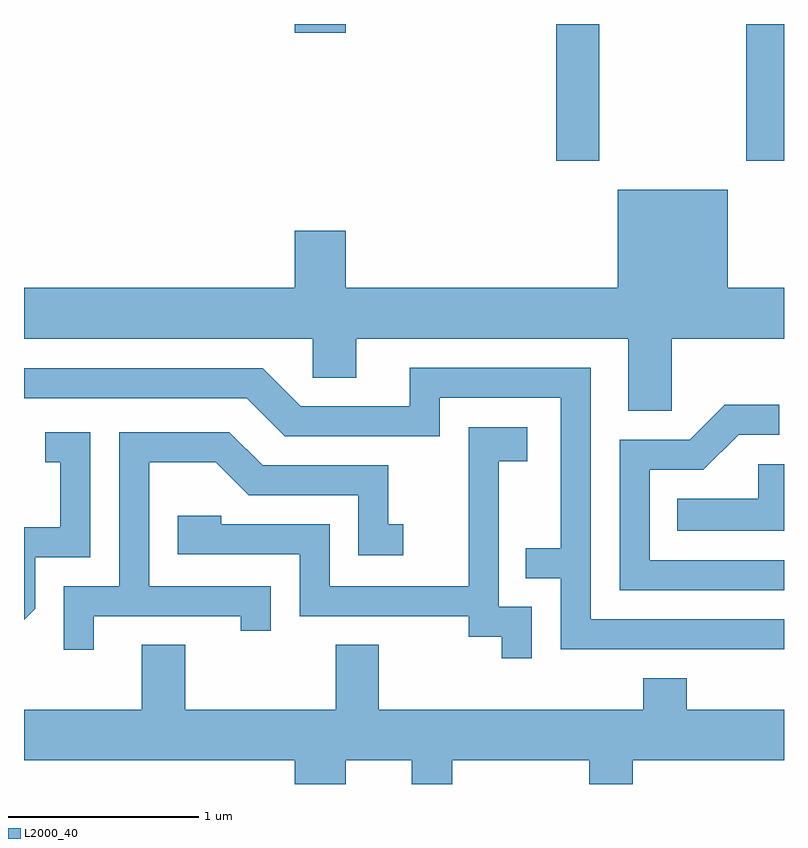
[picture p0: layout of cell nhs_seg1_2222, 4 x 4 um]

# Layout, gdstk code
import gdstk
lib = gdstk.Library(unit=1e-6, precision=1e-09)
def R(c, l, rs):  # rectangles x0, y0, x1, y1
    for r in rs: c.add(gdstk.rectangle(r[:2], r[2:], *l))
def P(c, l, *ps):  # polygons
    for p in ps: c.add(gdstk.Polygon(p, *l))
L2000_40 = (2000, 40)

nhs_seg1_2222 = lib.new_cell('nhs_seg1_2222')
R(nhs_seg1_2222, L2000_40, [(256.411,864.991,256.639,865.712), (257.411,864.991,257.611,865.712), (255.036,865.666,255.304,865.712)])
P(nhs_seg1_2222, L2000_40, [(257.019,864.056),(257.611,864.056),(257.611,864.324),(257.314,864.324),(257.314,864.839),(256.736,864.839),(256.736,864.324),(255.304,864.324),(255.304,864.624),(255.036,864.624),(255.036,864.324),(253.611,864.324),(253.611,864.056),(255.131,864.056),(255.131,863.851),(255.359,863.851),(255.359,864.056),(256.791,864.056),(256.791,863.676),(257.019,863.676)],
  [(257.611,862.579),(256.594,862.579),(256.594,863.904),(255.641,863.904),(255.641,863.699),(255.067,863.699),(254.867,863.899),(253.611,863.899),(253.611,863.741),(254.784,863.741),(254.984,863.541),(255.799,863.541),(255.799,863.746),(256.436,863.746),(256.436,862.954),(256.253,862.954),(256.253,862.796),(256.436,862.796),(256.436,862.421),(257.611,862.421)],
  [(257.611,862.889),(256.904,862.889),(256.904,863.366),(257.187,863.366),(257.372,863.551),(257.587,863.551),(257.587,863.709),(257.299,863.709),(257.114,863.524),(256.746,863.524),(256.746,862.731),(257.611,862.731)],
  [(256.284,862.644),(256.109,862.644),(256.109,863.411),(256.259,863.411),(256.259,863.589),(255.951,863.589),(255.951,862.754),(255.219,862.754),(255.219,863.079),(254.649,863.079),(254.649,863.124),(254.421,863.124),(254.421,862.921),(255.061,862.921),(255.061,862.596),(255.951,862.596),(255.951,862.486),(256.126,862.486),(256.126,862.373),(256.284,862.373)],
  [(253.669,862.634),(253.669,862.906),(253.959,862.906),(253.959,863.564),(253.723,863.564),(253.723,863.406),(253.801,863.406),(253.801,863.064),(253.611,863.064),(253.611,862.576)],
  [(253.979,862.596),(254.751,862.596),(254.751,862.518),(254.909,862.518),(254.909,862.754),(254.269,862.754),(254.269,863.406),(254.619,863.406),(254.794,863.231),(255.371,863.231),(255.371,862.916),(255.608,862.916),(255.608,863.079),(255.529,863.079),(255.529,863.389),(254.867,863.389),(254.692,863.564),(254.111,863.564),(254.111,862.754),(253.821,862.754),(253.821,862.418),(253.979,862.418)],
  [(257.611,863.394),(257.476,863.394),(257.476,863.214),(257.048,863.214),(257.048,863.046),(257.611,863.046)],
  [(255.479,862.444),(255.251,862.444),(255.251,862.104),(254.459,862.104),(254.459,862.444),(254.231,862.444),(254.231,862.104),(253.611,862.104),(253.611,861.836),(255.036,861.836),(255.036,861.712),(255.304,861.712),(255.304,861.836),(255.651,861.836),(255.651,861.712),(255.864,861.712),(255.864,861.836),(256.586,861.836),(256.586,861.712),(256.814,861.712),(256.814,861.836),(257.611,861.836),(257.611,862.104),(257.099,862.104),(257.099,862.269),(256.871,862.269),(256.871,862.104),(255.479,862.104)])

lib.write_gds('nhs_seg1_2222.gds')
